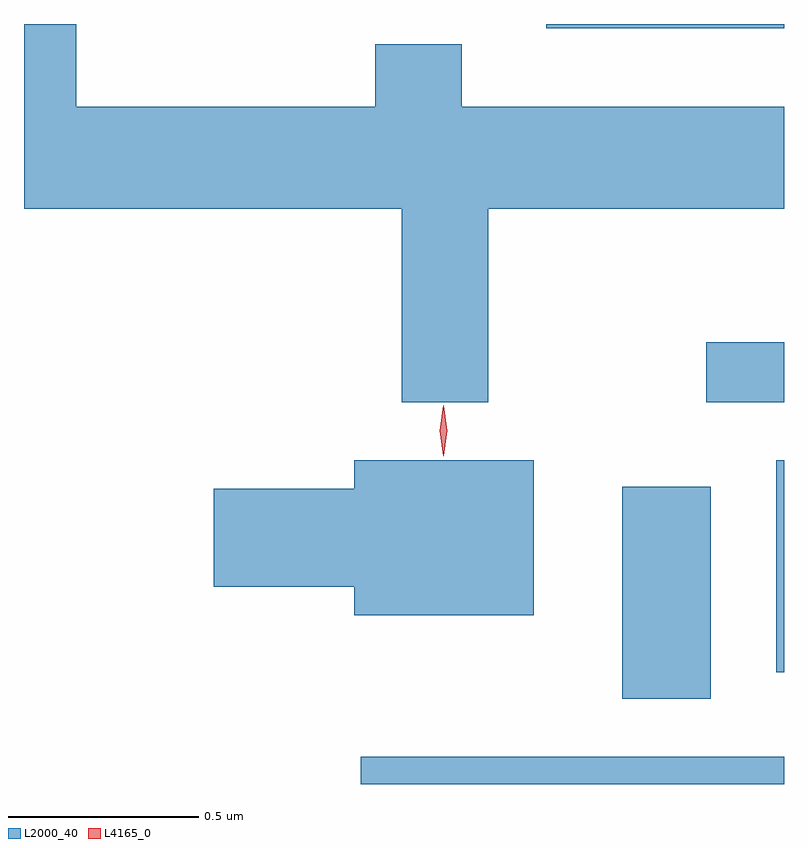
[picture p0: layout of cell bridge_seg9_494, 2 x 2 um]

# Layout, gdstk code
import gdstk
lib = gdstk.Library(unit=1e-6, precision=1e-09)
def R(c, l, rs):  # rectangles x0, y0, x1, y1
    for r in rs: c.add(gdstk.rectangle(r[:2], r[2:], *l))
def P(c, l, *ps):  # polygons
    for p in ps: c.add(gdstk.Polygon(p, *l))
L2000_40 = (2000, 40)
L4165_0 = (4165, 0)

bridge_seg9_494 = lib.new_cell('bridge_seg9_494')
R(bridge_seg9_494, L2000_40, [(487.263,1996.962,488.377,1997.034), (487.951,1997.186,488.184,1997.744), (488.356,1997.256,488.377,1997.814), (488.173,1997.966,488.377,1998.124), (487.751,1998.951,488.377,1998.962)])
P(bridge_seg9_494, L2000_40, [(487.599,1998.476),(488.377,1998.476),(488.377,1998.744),(487.529,1998.744),(487.529,1998.909),(487.301,1998.909),(487.301,1998.744),(486.514,1998.744),(486.514,1998.962),(486.377,1998.962),(486.377,1998.476),(487.371,1998.476),(487.371,1997.966),(487.599,1997.966)],
  [(487.719,1997.814),(487.246,1997.814),(487.246,1997.739),(486.876,1997.739),(486.876,1997.481),(487.246,1997.481),(487.246,1997.406),(487.719,1997.406)])
P(bridge_seg9_494, L4165_0, [(487.481,1997.825),(487.48,1997.826),(487.471,1997.892),(487.48,1997.958),(487.481,1997.959),(487.481,1997.958),(487.491,1997.892),(487.481,1997.826)])

lib.write_gds('bridge_seg9_494.gds')
